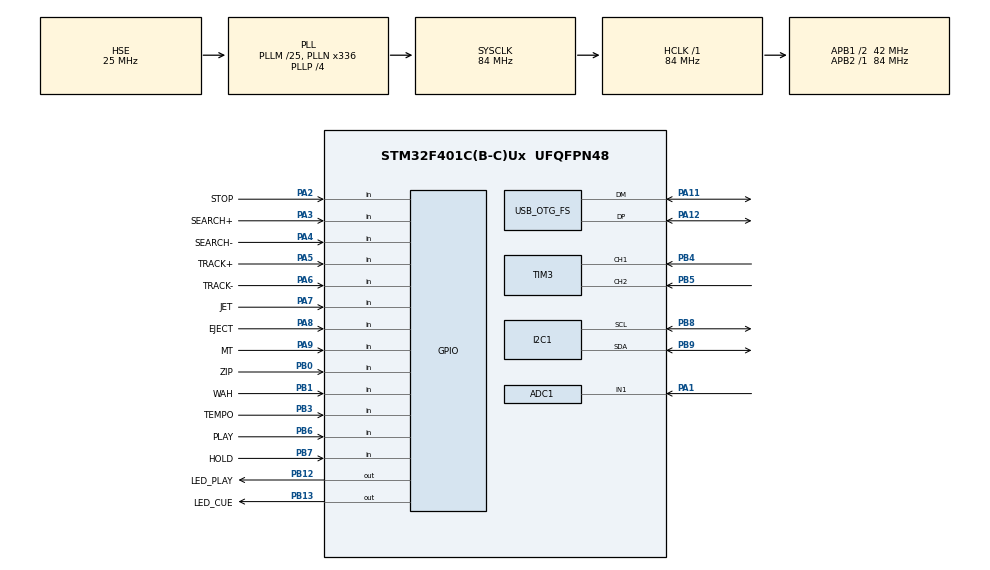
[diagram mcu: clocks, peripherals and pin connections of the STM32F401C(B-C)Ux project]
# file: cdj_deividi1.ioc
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ADC1.Channel-7\#ChannelRegularConversion=ADC_CHANNEL_1
ADC1.NbrOfConversionFlag=1
ADC1.Rank-7\#ChannelRegularConversion=1
ADC1.SamplingTime-7\#ChannelRegularConversion=ADC_SAMPLETIME_3CYCLES
ADC1.master=1
Dma.ADC1.0.Direction=DMA_PERIPH_TO_MEMORY
Dma.ADC1.0.FIFOMode=DMA_FIFOMODE_DISABLE
Dma.ADC1.0.Instance=DMA2_Stream0
Dma.ADC1.0.MemDataAlignment=DMA_MDATAALIGN_HALFWORD
Dma.ADC1.0.MemInc=DMA_MINC_ENABLE
Dma.ADC1.0.Mode=DMA_CIRCULAR
Dma.ADC1.0.PeriphDataAlignment=DMA_PDATAALIGN_HALFWORD
Dma.ADC1.0.PeriphInc=DMA_PINC_DISABLE
Dma.ADC1.0.Priority=DMA_PRIORITY_LOW
Dma.Request0=ADC1
Mcu.Family=STM32F4
Mcu.Name=STM32F401C(B-C)Ux
Mcu.Package=UFQFPN48
NVIC.DMA2_Stream0_IRQn=true\:0\:0\:false\:false\:true\:false\:true\:true
NVIC.OTG_FS_IRQn=true\:0\:0\:false\:false\:true\:false\:true\:true
NVIC.PriorityGroup=NVIC_PRIORITYGROUP_4
PA1.Signal=ADCx_IN1
PA11.Mode=Device_Only
PA11.Signal=USB_OTG_FS_DM
PA12.Mode=Device_Only
PA12.Signal=USB_OTG_FS_DP
PA13.Mode=Serial_Wire
PA13.Signal=SYS_JTMS-SWDIO
PA14.Mode=Serial_Wire
PA14.Signal=SYS_JTCK-SWCLK
PA2.GPIO_Label=STOP
PA2.GPIO_PuPd=GPIO_PULLUP
PA2.Signal=GPIO_Input
PA3.GPIO_Label=SEARCH+
PA3.GPIO_PuPd=GPIO_PULLUP
PA3.Signal=GPIO_Input
PA4.GPIO_Label=SEARCH-
PA4.GPIO_PuPd=GPIO_PULLUP
PA4.Signal=GPIO_Input
PA5.GPIO_Label=TRACK+
PA5.GPIO_PuPd=GPIO_PULLUP
PA5.Signal=GPIO_Input
PA6.GPIO_Label=TRACK-
PA6.GPIO_PuPd=GPIO_PULLUP
PA6.Signal=GPIO_Input
PA7.GPIO_Label=JET
PA7.GPIO_PuPd=GPIO_PULLUP
PA7.Signal=GPIO_Input
PA8.GPIO_Label=EJECT
PA8.GPIO_PuPd=GPIO_PULLUP
PA8.Signal=GPIO_Input
PA9.GPIO_Label=MT
PA9.GPIO_PuPd=GPIO_PULLUP
PA9.Signal=GPIO_Input
PB0.GPIO_Label=ZIP
PB0.GPIO_PuPd=GPIO_PULLUP
PB0.Signal=GPIO_Input
PB1.GPIO_Label=WAH
PB1.GPIO_PuPd=GPIO_PULLUP
PB1.Signal=GPIO_Input
PB12.GPIO_Label=LED_PLAY
PB12.Signal=GPIO_Output
PB13.GPIO_Label=LED_CUE
PB13.Signal=GPIO_Output
PB3.GPIO_Label=TEMPO
PB3.GPIO_PuPd=GPIO_PULLUP
PB3.Signal=GPIO_Input
PB4.GPIO_PuPd=GPIO_NOPULL
PB4.GPIO_Speed=GPIO_SPEED_FREQ_HIGH
PB4.Signal=S_TIM3_CH1
PB5.GPIO_PuPd=GPIO_NOPULL
PB5.GPIO_Speed=GPIO_SPEED_FREQ_HIGH
PB5.Signal=S_TIM3_CH2
PB6.GPIO_Label=PLAY
PB6.GPIO_PuPd=GPIO_PULLUP
PB6.Signal=GPIO_Input
PB7.GPIO_Label=HOLD
PB7.GPIO_PuPd=GPIO_PULLUP
PB7.Signal=GPIO_Input
PB8.GPIO_Pu=GPIO_PULLUP
PB8.Mode=I2C
PB8.Signal=I2C1_SCL
PB9.GPIO_Pu=GPIO_PULLUP
PB9.Mode=I2C
PB9.Signal=I2C1_SDA
PH0\ -\ OSC_IN.Mode=HSE-External-Oscillator
PH0\ -\ OSC_IN.Signal=RCC_OSC_IN
PH1\ -\ OSC_OUT.Mode=HSE-External-Oscillator
PH1\ -\ OSC_OUT.Signal=RCC_OSC_OUT
ProjectManager.HeapSize=0x200
ProjectManager.StackSize=0x400
ProjectManager.TargetToolchain=STM32CubeIDE
RCC.48MHZClocksFreq_Value=48000000
RCC.AHBFreq_Value=84000000
RCC.APB1CLKDivider=RCC_HCLK_DIV2
RCC.APB1Freq_Value=42000000
RCC.APB1TimFreq_Value=84000000
RCC.APB2Freq_Value=84000000
RCC.APB2TimFreq_Value=84000000
RCC.CortexFreq_Value=84000000
RCC.HCLKFreq_Value=84000000
RCC.HSE_VALUE=25000000
RCC.HSI_VALUE=16000000
RCC.LSE_VALUE=32768
RCC.PLLM=25
RCC.PLLN=336
RCC.PLLP=RCC_PLLP_DIV4
RCC.PLLQ=7
RCC.SYSCLKFreq_VALUE=84000000
RCC.SYSCLKSource=RCC_SYSCLKSOURCE_PLLCLK
RCC.VCOOutputFreq_Value=336000000
SH.ADCx_IN1.0=ADC1_IN1,IN1
SH.S_TIM3_CH1.0=TIM3_CH1,Encoder_Interface
SH.S_TIM3_CH2.0=TIM3_CH2,Encoder_Interface
TIM3.EncoderMode=TIM_ENCODERMODE_TI12
TIM3.IC2Filter=5
USB_DEVICE.CLASS_NAME_FS=AUDIO
USB_DEVICE.VirtualMode=Audio
USB_DEVICE.VirtualModeFS=Audio_FS
USB_OTG_FS.VirtualMode=Device_Only
VP_USB_DEVICE_VS_USB_DEVICE_AUDIO_FS.Mode=AUDIO_FS
board=custom

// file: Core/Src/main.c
/* USER CODE BEGIN Header */
/**
  ******************************************************************************
  * @file           : main.c
  * @brief          : Main program body
  ******************************************************************************
  * @attention
  *
  * Copyright (c) 2023 STMicroelectronics. All rights reserved.
  *
  * This software is licensed under terms that can be found in the LICENSE file
  * in the root directory of this software component. If no LICENSE file comes with
  * this software, it is provided AS-IS.
  *
  ******************************************************************************
  */
/* USER CODE END Header */
#include "main.h"
#include "adc.h"
#include "dma.h"
#include "i2c.h"
#include "tim.h"
#include "usb_device.h"
#include "gpio.h"

/* USER CODE BEGIN Includes */
#include "lcd_i2c.h"
#include "usbd_midi.h"

#include <stdio.h>
#include <stdlib.h>
#include <string.h>
/* USER CODE END Includes */

/* USER CODE BEGIN PD */
#define PITCH_THRESHOLD 20 // Sensibilidade do Pitch
#define PITCH_SEND_INTERVAL 10 // Intervalo mínimo para enviar Pitch Bend (ms)
#define BUTTON_DEBOUNCE_TIME 50 // Reduzido para maior precisão em botões momentâneos (ms)

/* USER CODE END PD */

/* USER CODE BEGIN PV */
/* ================= USB ================= */
extern USBD_HandleTypeDef hUsbDeviceFS;

/* ================= PITCH ================= */
uint32_t adc_value = 0;
float pitch_filtered = 0;
int last_pitch_sent = -1;

/* ================= ENCODER ================= */
int32_t last_encoder = 0;

/* ================= BUTTONS ================= */
// Play Button (PB6)
static uint8_t last_play_state = GPIO_PIN_SET;
static uint32_t last_play_time = 0;

// Cue Button (PA2)
static uint8_t last_cue_state = GPIO_PIN_SET;
static uint32_t last_cue_time = 0;

// Track+ Button (PA5)
static uint8_t last_track_plus_state = GPIO_PIN_SET;
static uint32_t last_track_plus_time = 0;

// Track- Button (PA6)
static uint8_t last_track_minus_state = GPIO_PIN_SET;
static uint32_t last_track_minus_time = 0;

// Search+ Button (PA3)
static uint8_t last_search_plus_state = GPIO_PIN_SET;
static uint32_t last_search_plus_time = 0;

// Search- Button (PA4)
static uint8_t last_search_minus_state = GPIO_PIN_SET;
static uint32_t last_search_minus_time = 0;

// MT - Master Tempo Button (PA8)
static uint8_t last_mt_state = GPIO_PIN_SET;
static uint32_t last_mt_time = 0;

// Eject Button (PA9)
static uint8_t last_eject_state = GPIO_PIN_SET;
static uint32_t last_eject_time = 0;

// Tempo Button (PB3)
static uint8_t last_tempo_state = GPIO_PIN_SET;
static uint32_t last_tempo_time = 0;

/* ================= DECK CONTROL & LED STATES ================= */
uint8_t current_deck = 0;
static uint8_t hold_pressed = 0;
static uint32_t hold_press_start = 0;
static uint8_t hold_longpress_done = 0;

// Armazena o estado de todas as 128 notas para os 2 Decks (0 = Deck A, 1 = Deck B)
uint8_t led_states[2][128] = {0};

// Wah Button (PB1)
static uint8_t last_wah_state = GPIO_PIN_SET;
static uint32_t last_wah_time = 0;

// Zip Button (PB0)
static uint8_t last_zip_state = GPIO_PIN_SET;
static uint32_t last_zip_time = 0;

// Jet Button (PA7)
static uint8_t last_jet_state = GPIO_PIN_SET;
static uint32_t last_jet_time = 0;

static uint8_t current_play_state[2] = {0, 0}; // Estado estável do PLAY para cada deck (0=STOP, 1=PLAY)
static uint8_t status_changed = 1; // Flag para indicar que o status do LCD/LEDs precisa ser atualizado
static uint32_t note_60_on_time[2] = {0, 0}; // Timestamp quando nota 60 ficou em 1 para cada deck
#define PLAY_CONFIRM_TIME_MS 270 // Tempo em ms que nota 60 deve ficar em 1 para confirmar PLAY
/* USER CODE END PV */

void SystemClock_Config(void);
/* USER CODE BEGIN PFP */
void SendCC(uint8_t cc, uint8_t value);
void SendNoteOn(uint8_t note);
void SendNoteOff(uint8_t note);
void My_LCD_Create_Char(uint8_t location, uint8_t *charmap);
void Refresh_LEDs(void);
void Update_LCD_Status(void);
void Update_LCD_Pitch(void);
void ProcessMidiRx(uint8_t *buf, uint32_t length);
/* USER CODE END PFP */

/* USER CODE BEGIN 0 */
void SendCC(uint8_t cc, uint8_t value)
{
    uint8_t msg[4] = {0x0B, current_deck ? 0xB1 : 0xB0, cc, value & 0x7F};
    USBD_MIDI_SetTxBuffer(&hUsbDeviceFS, msg, 4);
    USBD_MIDI_TransmitPacket(&hUsbDeviceFS);
}

void SendNoteOn(uint8_t note)
{
    uint8_t msg[4] = {0x09, current_deck ? 0x91 : 0x90, note, 127};
    USBD_MIDI_SetTxBuffer(&hUsbDeviceFS, msg, 4);
    USBD_MIDI_TransmitPacket(&hUsbDeviceFS);
}

void SendNoteOff(uint8_t note)
{
    uint8_t msg[4] = {0x08, current_deck ? 0x81 : 0x80, note, 0};
    USBD_MIDI_SetTxBuffer(&hUsbDeviceFS, msg, 4);
    USBD_MIDI_TransmitPacket(&hUsbDeviceFS);
}

// FUNÇÃO PARA CRIAR CARACTERE PERSONALIZADO CASO A BIBLIOTECA NÃO TENHA
void My_LCD_Create_Char(uint8_t location, uint8_t *charmap)
{
    location &= 0x07; // O LCD só aceita posições de 0 a 7
    lcd_send_cmd(0x40 + (location << 3)); // Aponta para a memória CGRAM do LCD
    for (int i = 0; i < 8; i++) {
        lcd_send_data(charmap[i]); // Escreve as 8 linhas do desenho
    }
}
/* USER CODE END 0 */

int main(void)
{

  /* MCU Configuration--------------------------------------------------------*/

  /* Reset of all peripherals, Initializes the Flash interface and the Systick. */
  HAL_Init();

  /* Configure the system clock */
  SystemClock_Config();

  /* Initialize all configured peripherals */
  MX_GPIO_Init();
  MX_DMA_Init();
  MX_USB_DEVICE_Init();
  MX_ADC1_Init();
  MX_I2C1_Init();
  MX_TIM3_Init();
  /* USER CODE BEGIN 2 */

  HAL_Delay(500);

  /* START ENCODER */
  HAL_TIM_Encoder_Start(&htim3, TIM_CHANNEL_ALL);

  last_encoder = (int32_t)(int16_t)__HAL_TIM_GET_COUNTER(&htim3);

  // INICIALIZA O LCD
  lcd_init();
  lcd_clear();

  // Mostra o status inicial na primeira linha
  Update_LCD_Status();
  // Atualiza o estado dos LEDs na inicialização
  Refresh_LEDs();
  // Atualiza o pitch na segunda linha
  Update_LCD_Pitch();

  /* USER CODE END 2 */

  /* Infinite loop */
  /* USER CODE BEGIN WHILE */
  while (1)
  {
    uint32_t now = HAL_GetTick();

    /* ================= PITCH (ADC + FILTER) ================= */
    uint32_t soma = 0;
    for(int i = 0; i < 16; i++)
    {
        HAL_ADC_Start(&hadc1);
        HAL_ADC_PollForConversion(&hadc1, 10);
        soma += HAL_ADC_GetValue(&hadc1);
    }
    adc_value = soma / 16;

    float target = 16383.0f - (((float)adc_value / 4095.0f) * 16383.0f);
    pitch_filtered = (pitch_filtered * 0.95f) + (target * 0.05f);
    int pitch_value = (int)pitch_filtered;

    static uint32_t last_pitch_time = 0;
    if((last_pitch_sent < 0 || abs(pitch_value - last_pitch_sent) > PITCH_THRESHOLD)
        && (now - last_pitch_time > PITCH_SEND_INTERVAL))
    {
        uint8_t msg[4];
        msg[0] = 0x0E;
        msg[1] = current_deck ? 0xE1 : 0xE0;
        msg[2] = pitch_value & 0x7F;
        msg[3] = (pitch_value >> 7) & 0x7F;

        USBD_MIDI_SetTxBuffer(&hUsbDeviceFS, msg, 4);
        USBD_MIDI_TransmitPacket(&hUsbDeviceFS);

        last_pitch_sent = pitch_value;
        last_pitch_time = now;
    }

    /* ================= JOG (TIM3 ENCODER) ================= */
    int32_t encoder = (int32_t)(int16_t)__HAL_TIM_GET_COUNTER(&htim3);
    int32_t diff = encoder - last_encoder;

    if(diff != 0)
    {
        int direction = (diff > 0) ? 1 : -1;
        int speed = abs(diff);
        if(speed > 10) speed = 10;

        int value = 64 + (direction * speed);
        if(value < 1)   value = 1;
        if(value > 127) value = 127;

        SendCC(20, value);
        last_encoder = encoder;
    }

    /* ================= PLAY ================= */
    uint8_t play_state = HAL_GPIO_ReadPin(PLAY_GPIO_Port, PLAY_Pin);
    if((now - last_play_time) > BUTTON_DEBOUNCE_TIME)
    {
        if(play_state != last_play_state)
        {
            if(play_state == GPIO_PIN_RESET) {
                SendNoteOn(60);
            } else {
                SendNoteOff(60);
            }

            last_play_time = now;
            last_play_state = play_state;
        }
    }

    /* ================= CUE ================= */
    uint8_t cue_state = HAL_GPIO_ReadPin(STOP_GPIO_Port, STOP_Pin);
    if((now - last_cue_time) > BUTTON_DEBOUNCE_TIME)
    {
        if(cue_state != last_cue_state)
        {
            if(cue_state == GPIO_PIN_RESET) {
                SendNoteOn(61);
            } else {
                SendNoteOff(61);
            }

            last_cue_time = now;
            last_cue_state = cue_state;
        }
    }

    /* ================= TRACK+ (PA5) ================= */
    uint8_t track_plus_state = HAL_GPIO_ReadPin(GPIOA, GPIO_PIN_5);
    if((now - last_track_plus_time) > BUTTON_DEBOUNCE_TIME)
    {
        if(track_plus_state != last_track_plus_state)
        {
            if(track_plus_state == GPIO_PIN_RESET) {
                SendNoteOn(62);
            } else {
                SendNoteOff(62);
            }
            last_track_plus_time = now;
            last_track_plus_state = track_plus_state;
        }
    }

    /* ================= TRACK- (PA6) ================= */
    uint8_t track_minus_state = HAL_GPIO_ReadPin(GPIOA, GPIO_PIN_6);
    if((now - last_track_minus_time) > BUTTON_DEBOUNCE_TIME)
    {
        if(track_minus_state != last_track_minus_state)
        {
            if(track_minus_state == GPIO_PIN_RESET) {
                SendNoteOn(63);
            } else {
                SendNoteOff(63);
            }
            last_track_minus_time = now;
            last_track_minus_state = track_minus_state;
        }
    }

    /* ================= SEARCH+ (PA3) ================= */
    uint8_t search_plus_state = HAL_GPIO_ReadPin(GPIOA, GPIO_PIN_3);
    if((now - last_search_plus_time) > BUTTON_DEBOUNCE_TIME)
    {
        if(search_plus_state != last_search_plus_state)
        {
            if(search_plus_state == GPIO_PIN_RESET) {
                SendNoteOn(64);
            } else {
                SendNoteOff(64);
            }
            last_search_plus_time = now;
            last_search_plus_state = search_plus_state;
        }
    }

    /* ================= SEARCH- (PA4) ================= */
    uint8_t search_minus_state = HAL_GPIO_ReadPin(GPIOA, GPIO_PIN_4);
    if((now - last_search_minus_time) > BUTTON_DEBOUNCE_TIME)
    {
        if(search_minus_state != last_search_minus_state)
        {
            if(search_minus_state == GPIO_PIN_RESET) {
                SendNoteOn(65);
            } else {
                SendNoteOff(65);
            }
            last_search_minus_time = now;
            last_search_minus_state = search_minus_state;
        }
    }

    /* ================= MT - MASTER TEMPO (PA8) ================= */
    uint8_t mt_state = HAL_GPIO_ReadPin(GPIOA, GPIO_PIN_8);
    if((now - last_mt_time) > BUTTON_DEBOUNCE_TIME)
    {
        if(mt_state != last_mt_state)
        {
            if(mt_state == GPIO_PIN_RESET) {
                SendNoteOn(66);
            } else {
                SendNoteOff(66);
            }
            last_mt_time = now;
            last_mt_state = mt_state;
        }
    }

    /* ================= EJECT (PA9) ================= */
    uint8_t eject_state = HAL_GPIO_ReadPin(GPIOA, GPIO_PIN_9);
    if((now - last_eject_time) > BUTTON_DEBOUNCE_TIME)
    {
        if(eject_state != last_eject_state)
        {
            if(eject_state == GPIO_PIN_RESET) {
                SendNoteOn(67);
            } else {
                SendNoteOff(67);
            }
            last_eject_time = now;
            last_eject_state = eject_state;
        }
    }

    /* ================= TEMPO (PB3) ================= */
    uint8_t tempo_state = HAL_GPIO_ReadPin(GPIOB, GPIO_PIN_3);
    if((now - last_tempo_time) > BUTTON_DEBOUNCE_TIME)
    {
        if(tempo_state != last_tempo_state)
        {
            if(tempo_state == GPIO_PIN_RESET) {
                SendNoteOn(68);
            } else {
                SendNoteOff(68);
            }
            last_tempo_time = now;
            last_tempo_state = tempo_state;
        }
    }

    /* ================= HOLD (PB7) - ALTERNADOR DE DECK ================= */
    uint8_t hold_state = HAL_GPIO_ReadPin(GPIOB, GPIO_PIN_7);

    if(hold_state == GPIO_PIN_RESET && !hold_pressed)
    {
        hold_pressed = 1;
        hold_press_start = now;
        hold_longpress_done = 0;
    }

    if(hold_pressed && !hold_longpress_done && ((now - hold_press_start) >= 2000))
    {
        current_deck ^= 1;

        status_changed = 1; // Força atualização de LCD e LEDs na troca de deck

        hold_longpress_done = 1;
    }

    if(hold_state == GPIO_PIN_SET)
    {
        hold_pressed = 0;
    }

    /* ================= WAH (PB1) ================= */
    uint8_t wah_state = HAL_GPIO_ReadPin(GPIOB, GPIO_PIN_1);
    if((now - last_wah_time) > BUTTON_DEBOUNCE_TIME)
    {
        if(wah_state != last_wah_state)
        {
            if(wah_state == GPIO_PIN_RESET) {
                SendNoteOn(70);
            } else {
                SendNoteOff(70);
            }
            last_wah_time = now;
            last_wah_state = wah_state;
        }
    }

    /* ================= ZIP (PB0) ================= */
    uint8_t zip_state = HAL_GPIO_ReadPin(GPIOB, GPIO_PIN_0);
    if((now - last_zip_time) > BUTTON_DEBOUNCE_TIME)
    {
        if(zip_state != last_zip_state)
        {
            if(zip_state == GPIO_PIN_RESET) {
                SendNoteOn(71);
            } else {
                SendNoteOff(71);
            }
            last_zip_time = now;
            last_zip_state = zip_state;
        }
    }

    /* ================= JET (PA7) ================= */
    uint8_t jet_state = HAL_GPIO_ReadPin(GPIOA, GPIO_PIN_7);
    if((now - last_jet_time) > BUTTON_DEBOUNCE_TIME)
    {
        if(jet_state != last_jet_state)
        {
            if(jet_state == GPIO_PIN_RESET) {
                SendNoteOn(72);
            } else {
                SendNoteOff(72);
            }
            last_jet_time = now;
            last_jet_state = jet_state;
        }
    }

    // Atualiza LCD e LEDs apenas se o status mudou
    if (status_changed) {
        Update_LCD_Status();
        Refresh_LEDs();
        status_changed = 0; // Reseta a flag após a atualização
    }

    // Verifica se nota 60 ficou em 1 por 3 segundos para confirmar PLAY
    if (note_60_on_time[current_deck] != 0) {
        if ((now - note_60_on_time[current_deck]) >= PLAY_CONFIRM_TIME_MS) {
            if (current_play_state[current_deck] != 1) {
                current_play_state[current_deck] = 1; // PLAY
                status_changed = 1;
            }
        }
    }

    // Atualiza pitch na segunda linha
    Update_LCD_Pitch();

    HAL_Delay(1);
    /* USER CODE END WHILE */

  }
}

void SystemClock_Config(void)
{
  RCC_OscInitTypeDef RCC_OscInitStruct = {0};
  RCC_ClkInitTypeDef RCC_ClkInitStruct = {0};

  __HAL_RCC_PWR_CLK_ENABLE();
  __HAL_PWR_VOLTAGESCALING_CONFIG(PWR_REGULATOR_VOLTAGE_SCALE2);

  RCC_OscInitStruct.OscillatorType = RCC_OSCILLATORTYPE_HSE;
  RCC_OscInitStruct.HSEState = RCC_HSE_ON;
  RCC_OscInitStruct.PLL.PLLState = RCC_PLL_ON;
  RCC_OscInitStruct.PLL.PLLSource = RCC_PLLSOURCE_HSE;
  RCC_OscInitStruct.PLL.PLLM = 25;
  RCC_OscInitStruct.PLL.PLLN = 336;
  RCC_OscInitStruct.PLL.PLLP = RCC_PLLP_DIV4;
  RCC_OscInitStruct.PLL.PLLQ = 7;
  if (HAL_RCC_OscConfig(&RCC_OscInitStruct) != HAL_OK)
  {
    Error_Handler();
  }

  RCC_ClkInitStruct.ClockType = RCC_CLOCKTYPE_HCLK|RCC_CLOCKTYPE_SYSCLK
                              |RCC_CLOCKTYPE_PCLK1|RCC_CLOCKTYPE_PCLK2;
  RCC_ClkInitStruct.SYSCLKSource = RCC_SYSCLKSOURCE_PLLCLK;
  RCC_ClkInitStruct.AHBCLKDivider = RCC_SYSCLK_DIV1;
  RCC_ClkInitStruct.APB1CLKDivider = RCC_HCLK_DIV2;
  RCC_ClkInitStruct.APB2CLKDivider = RCC_HCLK_DIV1;

  if (HAL_RCC_ClockConfig(&RCC_ClkInitStruct, FLASH_LATENCY_2) != HAL_OK)
  {
    Error_Handler();
  }
}

/* USER CODE BEGIN 4 */
/**
  * @brief  Atualiza os pinos físicos dos LEDs baseando-se no Deck atual e na tabela armazenada.
  * @retval None
  */
void Refresh_LEDs(void)
{
    uint8_t play_state = current_play_state[current_deck]; // 1 para PLAY, 0 para STOP

    if (play_state == 1) // PLAY
    {
        HAL_GPIO_WritePin(LED_PLAY_GPIO_Port, LED_PLAY_Pin, GPIO_PIN_SET);   // Liga LED PLAY
        HAL_GPIO_WritePin(LED_CUE_GPIO_Port, LED_CUE_Pin, GPIO_PIN_RESET); // Desliga LED STOP
    }
    else // STOP
    {
        HAL_GPIO_WritePin(LED_PLAY_GPIO_Port, LED_PLAY_Pin, GPIO_PIN_RESET); // Desliga LED PLAY
        HAL_GPIO_WritePin(LED_CUE_GPIO_Port, LED_CUE_Pin, GPIO_PIN_SET);   // Liga LED STOP
    }
}

/**
  * @brief  Atualiza a linha superior do LCD com o status dinâmico do Deck atual.
  * @retval None
  */
static char last_lcd_status[17] = ""; // Armazena o último status exibido no LCD

void Update_LCD_Status(void)
{
    char current_status[17];
    uint8_t keylock_state = led_states[current_deck][67]; // Estado da nota 67 (Keylock)
    char *keylock_indicator = (keylock_state == 1) ? "     [M]" : "     [ ]";

    // Verifica o estado estável do PLAY
    if (current_play_state[current_deck] == 1)
    {
        if (current_deck == 0)
            sprintf(current_status, "A - PLAY%s  ", keylock_indicator);
        else
            sprintf(current_status, "B - PLAY%s  ", keylock_indicator);
    }
    // Se o Play está desligado, o deck está em STOP
    else
    {
        if (current_deck == 0)
            sprintf(current_status, "A - STOP%s  ", keylock_indicator);
        else
            sprintf(current_status, "B - STOP%s ", keylock_indicator);
    }

    // Só atualiza o LCD se o status mudou
    if (strcmp(current_status, last_lcd_status) != 0)
    {
        lcd_put_cur(0, 0); // Move o cursor para o começo da primeira linha
        lcd_send_string(current_status);
        strcpy(last_lcd_status, current_status);
    }
}

void Update_LCD_Pitch(void)
{
    char pitch_str[17];
    static char last_pitch_str[17] = "";

    // Calcula a porcentagem do pitch (centro = 8192, range = +/-8%)
    int pitch_center = 8192;
    int pitch_max = 16383;
    float pitch_percent = ((float)((int)pitch_filtered - pitch_center) / (pitch_max - pitch_center)) * 8.1f;

    // Formata manualmente com uma casa decimal (sem usar %.1f)
    int int_part = (int)pitch_percent;
    int dec_part = (int)((pitch_percent - int_part) * 10);
    if (dec_part < 0) dec_part = -dec_part;

    // Formata a string: "DJ Deividi  +8.0%" ou "DJ Deividi  -8.0%"
    if (pitch_percent >= 0)
        sprintf(pitch_str, "DJ Deividi  +%d.%d%%", int_part, dec_part);
    else
        sprintf(pitch_str, "DJ Deividi  %d.%d%%", int_part, dec_part);

    // Só atualiza se mudou
    if (strcmp(pitch_str, last_pitch_str) != 0)
    {
        lcd_put_cur(1, 0);
        lcd_send_string(pitch_str);
        strcpy(last_pitch_str, pitch_str);
    }
}

/**
  * @brief  Processa os pacotes USB MIDI recebidos (Midi Out do Host / Serato).
  * @param  buf: ponteiro para o buffer de recepção USB
  * @param  length: tamanho dos dados recebidos
  * @retval None
  */
void ProcessMidiRx(uint8_t *buf, uint32_t length)
{
    // Varre o buffer USB de 4 em 4 bytes (formato padrão USB-MIDI de mensagens)
    for (uint32_t i = 0; i < length; i += 4)
    {
        uint8_t status_byte = buf[i + 1]; // Ex: 0x90 (Note On Canal 1), 0x91 (Note On Canal 2)
        uint8_t note_number = buf[i + 2]; // O número da nota gerada (60, 61, etc.)
        uint8_t velocity    = buf[i + 3]; // Velocidade (127 = On / Liga, 0 = Off / Desliga)

        uint8_t msg_channel = status_byte & 0x0F; // Isola o canal: 0 = Deck A (Ch 1), 1 = Deck B (Ch 2)
        uint8_t msg_type    = status_byte & 0xF0; // Isola o comando: 0x90 = Note On, 0x80 = Note Off

        // Filtra se a mensagem recebida é do tipo Note On ou Note Off
        if (msg_type == 0x90 || msg_type == 0x80)
        {
            // Se o comando for Note On com velocidade maior que zero, liga (1). Caso contrário, desliga (0).
            uint8_t state = (msg_type == 0x90 && velocity > 0) ? 1 : 0;

            // Evita estouro de array garantindo os limites do barramento MIDI
            if (msg_channel < 2 && note_number < 128)
            {
                // Registra o estado recebido na memória do respectivo Deck mapeado
                led_states[msg_channel][note_number] = state;

                // Lógica: PLAY quando nota 60 ON por 3 segundos, STOP quando nota 60 OFF
                if (note_number == 60) {
                    uint8_t state = (msg_type == 0x90 && velocity > 0) ? 1 : 0; // 1=ON, 0=OFF

                    if (state == 1) {
                        // Nota 60 ON - inicia o timer se ainda não estiver rodando
                        if (note_60_on_time[msg_channel] == 0) {
                            note_60_on_time[msg_channel] = HAL_GetTick();
                        }
                    } else {
                        // Nota 60 OFF - reseta o timer e muda para STOP imediatamente
                        note_60_on_time[msg_channel] = 0;
                        if (current_play_state[msg_channel] != 0) {
                            current_play_state[msg_channel] = 0; // STOP
                            status_changed = 1;
                        }
                    }
                }

                // Atualiza LCD quando Keylock (nota 67) mudar
                if (note_number == 67 && msg_channel == current_deck) {
                    status_changed = 1;
                }

                // Se o comando MIDI enviado pelo Serato coincidir com o Deck atual na tela, atualiza o hardware e o LCD
                if (msg_channel == current_deck)
                {
                    // A atualização de LEDs e LCD será baseada no current_play_state, que é atualizado no loop principal
                    // Não chamamos Refresh_LEDs/Update_LCD_Status diretamente aqui para evitar o pisca-pisca
                }
            }
        }
    }
}
/* USER CODE END 4 */

void Error_Handler(void)
{
  __disable_irq();
  while (1)
  {
  }
}
